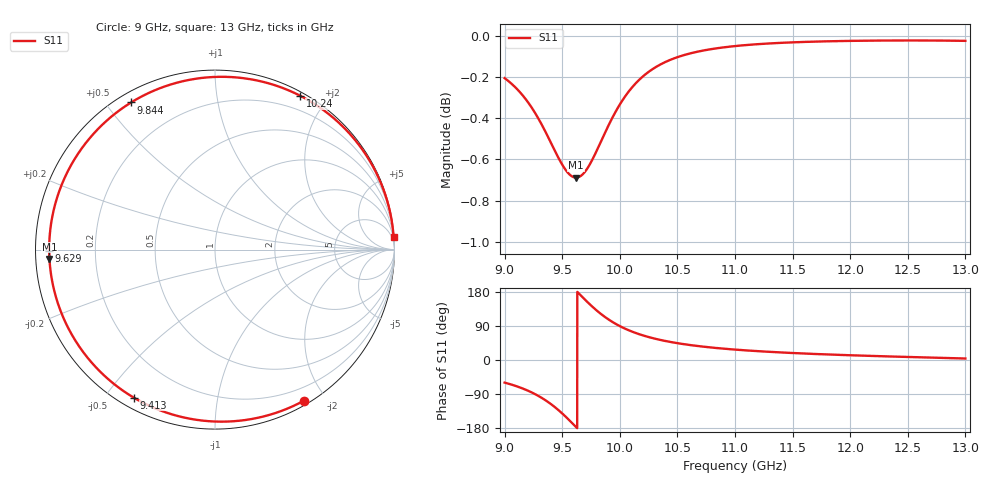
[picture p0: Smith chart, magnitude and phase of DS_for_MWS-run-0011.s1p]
! TOUCHSTONE file generated by CST DESIGN STUDIO
! Date and time: Tue Feb  4 12:54:02 2025
! Project name: C:\Work\MatlabApps\UnitCellOptimizationMatlab\CST\unitcell.cst
! Tree item: Tasks\Sweep1\SPara1\S-Parameters
! Header version: 2024
! Port assignment regex: !\s*Touchstone port\s*([0-9]+)\s*=\s*(CST MWS port|CST DES external port|CST DES block port)\s*(.+)\s* \(\"(.*)\"\)(\s*mode\s*([0-9]+))?.*
! Touchstone port assignment:
! Touchstone port 1 = CST DES external port 1 ("")
# GHz S MA R 50
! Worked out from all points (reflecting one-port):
!   4001 points, 9 GHz to 13 GHz, reference 50 ohm
!   lowest |S11| = -0.7 dB at 9.62 GHz (marker M1), VSWR 25.26, Z = 1.98 - j1.4 ohm
!   phase of S11 starts at -60 deg and turns -296 deg over the sweep
!   S11 on the Smith chart (normalised r, x): 9 GHz: 0.05, -1.74; 9.413 GHz: 0.04, -0.59; 9.629 GHz: 0.04, -0.00; 9.844 GHz: 0.04, +0.58; 10.24 GHz: 0.04, +1.70; 13 GHz: 1, +29
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9  0.9767 -59.6
9.057  0.9738 -64.6
9.131  0.9692 -72.2
9.195  0.9643 -80.0
9.258  0.9585 -89.0
9.341  0.9495 -103.5
9.413  0.9407 -118.8
9.457  0.9353 -129.5
9.5  0.9306 -141.0
9.563  0.9255 -159.3
9.62  0.9238 -176.8
9.629  0.9239 -179.6
9.674  0.9253 166.5
9.721  0.9289 152.3
9.783  0.9357 134.9
9.844  0.9437 119.7
9.917  0.9531 104.0
10  0.9624 89.4
10.117  0.9724 73.6
10.245  0.9799 61.0
10.363  0.9846 52.2
10.5  0.9883 44.4
10.72  0.9919 35.4
11  0.9944 27.5
11.5  0.9965 18.4
12  0.9973 12.5
12.5  0.9975 8.0
13  0.9973 4.0
